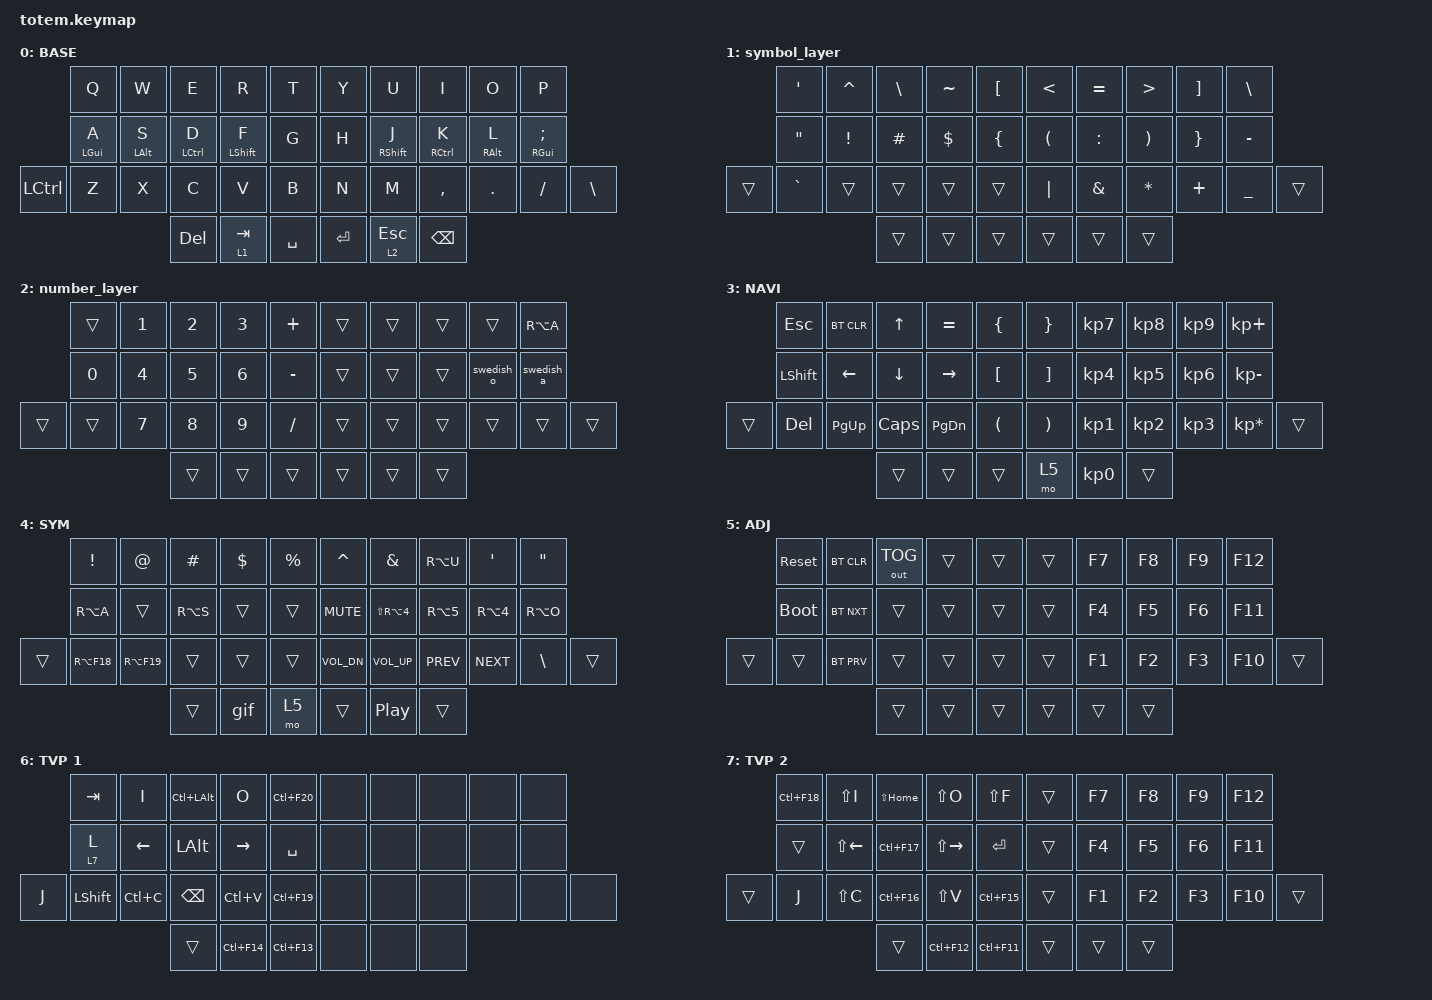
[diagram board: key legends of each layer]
//
//                                                        ▀▀▀▀▀     ▀▀▀▀▀          ▀▀█▀▀
//                                                        ▄▀▀▀▄  ▄  ▄▀▀▀▄  ▄  ▄▀▀▀▄  █  ▄▀▀▀▄
//                                                        █   █  █  █   █  █  █   █  █  █   █
//                                                         ▀▀▀   █   ▀▀▀   █   ▀▀▀   ▀   ▀▀▀
//                                                               █      ▄▄▄█▄▄▄    █   █  
//                                                               ▀      █  █  █     █▄█
//                                                             ▀▀▀▀▀    █  █  █      ▀
//                                                                      ▀  ▀  ▀
//
// ▄▄▄▄▄▄▄▄▄▄▄▄▄▄▄▄▄▄▄▄▄▄▄▄▄▄▄▄▄▄▄▄▄▄▄▄▄▄▄▄▄▄▄▄▄▄▄▄▄▄▄▄▄▄▄▄▄▄▄▄▄▄▄▄▄▄▄▄▄▄▄▄▄▄▄▄▄▄▄▄▄▄▄▄▄▄▄▄▄▄▄▄▄▄▄▄▄▄▄▄▄▄▄▄▄▄▄▄▄▄▄▄▄▄▄▄▄▄▄▄▄▄▄▄▄▄▄▄▄▄▄▄▄▄▄▄▄▄▄▄▄▄▄▄▄▄▄▄▄

#include <behaviors.dtsi>
#include <dt-bindings/zmk/bt.h>
#include <dt-bindings/zmk/keys.h>
#include <dt-bindings/zmk/outputs.h>

#define BASE 0
#define NAV  1
#define SYM  2
#define ADJ  3
#define TVP1 4
#define TVP2 5

&mt {
    quick-tap-ms = <100>;
    global-quick-tap;
    flavor = "tap-preferred";
    tapping-term-ms = <170>;
};

/ {
    combos {
        compatible = "zmk,combos";

        combo_esc {
            timeout-ms = <50>;
            key-positions = <0 1>;
            bindings = <&kp ESC>;
        };

        combo_tvp {
            timeout-ms = <100>;
            key-positions = <33 36>;
            bindings = <&tog 6>;
        };
    };

    macros {
        gif: gif {
            label = "giphy";
            compatible = "zmk,behavior-macro";
            #binding-cells = <0>;
            bindings =
                <&macro_press>,
                <&kp LSHFT>,
                <&macro_tap>,
                <&kp N2>,
                <&macro_release>,
                <&kp LSHFT>,
                <&macro_tap>,
                <&kp G &kp I &kp F>;
        };

        swedish_a: swedish_a {
            compatible = "zmk,behavior-macro";
            #binding-cells = <0>;
            bindings = <&kp RA(U) &kp A>;
            label = "SWEDISH_A";
        };

        swedish_o: swedish_o {
            compatible = "zmk,behavior-macro";
            #binding-cells = <0>;
            bindings = <&kp RA(U) &kp A>;
            label = "SWEDISH_O";
        };
    };

    keymap {
        compatible = "zmk,keymap";

        // ▄▄▄▄▄▄▄▄▄▄▄▄▄▄▄▄▄▄▄▄▄▄▄▄▄▄▄▄▄▄▄▄▄▄▄▄▄▄▄▄▄▄▄▄▄▄▄▄▄▄▄▄▄▄▄▄▄▄▄▄▄▄▄▄▄▄▄▄▄▄▄▄▄▄▄▄▄▄▄▄▄▄▄▄▄▄▄▄▄▄▄▄▄▄▄▄▄▄▄▄▄▄▄▄▄▄▄▄▄▄▄▄▄▄▄▄▄▄▄▄▄▄▄▄▄▄▄▄▄▄▄▄▄▄▄▄▄▄▄▄▄▄▄▄▄▄▄▄▄

        base_layer {
            // ┏━━━━━━━━━━━━━━━━━━━━━━━━━━━━━━━━━━━━━━━┓

            label = "BASE";

            // ┗━━━━━━━━━━━━━━━━━━━━━━━━━━━━━━━━━━━━━━━┛
            //             ┏━━━━━━━━━━━┳━━━━━━━━━━━┳━━━━━━━━━━━┳━━━━━━━━━━━┳━━━━━━━━━━━┓   ┏━━━━━━━━━━━┳━━━━━━━━━━━┳━━━━━━━━━━━┳━━━━━━━━━━━┳━━━━━━━━━━━┓
            //             ┃     Q     ┃     W     ┃     E     ┃     R     ┃     T     ┃   ┃     Y     ┃     U     ┃     I     ┃     O     ┃     P     ┃
            //             ┣━━━━━━━━━━━╋━━━━━━━━━━━╋━━━━━━━━━━━╋━━━━━━━━━━━╋━━━━━━━━━━━┫   ┣━━━━━━━━━━━╋━━━━━━━━━━━╋━━━━━━━━━━━╋━━━━━━━━━━━╋━━━━━━━━━━━┫
            //             ┃     A     ┃     S     ┃     D     ┃     F     ┃     G     ┃   ┃     H     ┃     J     ┃     K     ┃     L     ┃     O     ┃
            // ┏━━━━━━━━━━━╋━━━━━━━━━━━╋━━━━━━━━━━━╋━━━━━━━━━━━╋━━━━━━━━━━━╋━━━━━━━━━━━┫   ┣━━━━━━━━━━━╋━━━━━━━━━━━╋━━━━━━━━━━━╋━━━━━━━━━━━╋━━━━━━━━━━━╋━━━━━━━━━━━┓
            // ┃     Q     ┃     Z     ┃     X     ┃     C     ┃     V     ┃     B     ┃   ┃     K     ┃     M     ┃     ,     ┃     .     ┃     /     ┃     \     ┃
            // ┗━━━━━━━━━━━┻━━━━━━━━━━━┻━━━━━━━━━━━╋━━━━━━━━━━━╋━━━━━━━━━━━╋━━━━━━━━━━━┫   ┣━━━━━━━━━━━╋━━━━━━━━━━━╋━━━━━━━━━━━╋━━━━━━━━━━━┻━━━━━━━━━━━┻━━━━━━━━━━━┛
            //                                     ┃    DEL    ┃    TAB    ┃    SPC    ┃   ┃   ENTER   ┃           ┃   BSPC    ┃
            //                                     ┗━━━━━━━━━━━┻━━━━━━━━━━━┻━━━━━━━━━━━┛   ┗━━━━━━━━━━━┻━━━━━━━━━━━┻━━━━━━━━━━━┛

            bindings = <
                  &kp Q       &kp W       &kp E        &kp R        &kp T        &kp Y    &kp U        &kp I        &kp O       &kp P
                  &mt LGUI A  &mt LALT S  &mt LCTRL D  &mt LSHFT F  &kp G        &kp H    &mt RSHFT J  &mt RCTRL K  &mt RALT L  &mt RGUI SEMICOLON
&kp LEFT_CONTROL  &kp Z       &kp X       &kp C        &kp V        &kp B        &kp N    &kp M        &kp COMMA    &kp DOT     &kp FSLH            &kp BSLH
                                          &kp DEL      &lt 1 TAB    &kp SPACE    &kp RET  &lt 2 ESC    &kp BSPC
            >;
        };

        symbol_layer {
            bindings = <
        &kp SINGLE_QUOTE   &kp CARET        &kp BACKSLASH  &kp TILDE   &kp LEFT_BRACKET    &kp LESS_THAN         &kp EQUAL      &kp GREATER_THAN       &kp RIGHT_BRACKET  &kp BACKSLASH
        &kp DOUBLE_QUOTES  &kp EXCLAMATION  &kp HASH       &kp DOLLAR  &kp LEFT_BRACE      &kp LEFT_PARENTHESIS  &kp COLON      &kp RIGHT_PARENTHESIS  &kp RIGHT_BRACE    &kp MINUS
&trans  &kp GRAVE          &trans           &trans         &trans      &trans              &kp PIPE              &kp AMPERSAND  &kp ASTERISK           &kp PLUS           &kp UNDERSCORE  &trans
                                            &trans         &trans      &trans              &trans                &trans         &trans
            >;
        };

        number_layer {
            bindings = <
        &trans  &kp NUMBER_1  &kp NUMBER_2  &kp NUMBER_3  &kp PLUS     &trans  &trans  &trans  &trans      &kp RA(A)
        &kp N0  &kp NUMBER_4  &kp N5        &kp NUMBER_6  &kp MINUS    &trans  &trans  &trans  &swedish_o  &swedish_a
&trans  &trans  &kp N7        &kp N8        &kp N9        &kp SLASH    &trans  &trans  &trans  &trans      &trans      &trans
                              &trans        &trans        &trans       &trans  &trans  &trans
            >;
        };

        nav_layer {
            // ┏━━━━━━━━━━━━━━━━━━━━━━━━━━━━━━━━━━━━━━━┓

            label = "NAVI";

            // ┗━━━━━━━━━━━━━━━━━━━━━━━━━━━━━━━━━━━━━━━┛
            //             ┏━━━━━━━━━━━┳━━━━━━━━━━━┳━━━━━━━━━━━┳━━━━━━━━━━━┳━━━━━━━━━━━┓   ┏━━━━━━━━━━━┳━━━━━━━━━━━┳━━━━━━━━━━━┳━━━━━━━━━━━┳━━━━━━━━━━━┓
            //             ┃           ┃           ┃     UP    ┃           ┃     {     ┃   ┃     }     ┃     7     ┃     8     ┃     9     ┃     +     ┃
            //             ┣━━━━━━━━━━━╋━━━━━━━━━━━╋━━━━━━━━━━━╋━━━━━━━━━━━╋━━━━━━━━━━━┫   ┣━━━━━━━━━━━╋━━━━━━━━━━━╋━━━━━━━━━━━╋━━━━━━━━━━━╋━━━━━━━━━━━┫
            //             ┃   SHIFT   ┃   LEFT    ┃    DOWN   ┃   RIGHT   ┃     [     ┃   ┃     ]     ┃     4     ┃     5     ┃     6     ┃     -     ┃
            // ┏━━━━━━━━━━━╋━━━━━━━━━━━╋━━━━━━━━━━━╋━━━━━━━━━━━╋━━━━━━━━━━━╋━━━━━━━━━━━┫   ┣━━━━━━━━━━━╋━━━━━━━━━━━╋━━━━━━━━━━━╋━━━━━━━━━━━╋━━━━━━━━━━━╋━━━━━━━━━━━┓
            // ┃           ┃           ┃   P UP    ┃  C LOCK   ┃  P DOWN   ┃     (     ┃   ┃     )     ┃     1     ┃     2     ┃     3     ┃     *     ┃           ┃
            // ┗━━━━━━━━━━━┻━━━━━━━━━━━┻━━━━━━━━━━━╋━━━━━━━━━━━╋━━━━━━━━━━━╋━━━━━━━━━━━┫   ┣━━━━━━━━━━━╋━━━━━━━━━━━╋━━━━━━━━━━━╋━━━━━━━━━━━┻━━━━━━━━━━━┻━━━━━━━━━━━┛
            //                                     ┃           ┃    TAB    ┃    SPC    ┃   ┃    DEL    ┃     0     ┃           ┃
            //                                     ┗━━━━━━━━━━━┻━━━━━━━━━━━┻━━━━━━━━━━━┛   ┗━━━━━━━━━━━┻━━━━━━━━━━━┻━━━━━━━━━━━┛

            bindings = <
        &kp ESC    &bt BT_CLR  &kp UP    &kp EQUAL  &kp LBRC    &kp RBRC  &kp KP_N7  &kp KP_N8  &kp KP_N9  &kp KP_PLUS
        &kp LSHFT  &kp LEFT    &kp DOWN  &kp RIGHT  &kp LBKT    &kp RBKT  &kp KP_N4  &kp KP_N5  &kp KP_N6  &kp KP_MINUS
&trans  &kp DEL    &kp PG_UP   &kp CAPS  &kp PG_DN  &kp LPAR    &kp RPAR  &kp KP_N1  &kp KP_N2  &kp KP_N3  &kp KP_MULTIPLY  &trans
                               &trans    &trans     &trans      &mo 5     &kp KP_N0  &trans
            >;
        };

        sim_layer {
            // ┏━━━━━━━━━━━━━━━━━━━━━━━━━━━━━━━━━━━━━━━┓

            label = "SYM";

            // ┗━━━━━━━━━━━━━━━━━━━━━━━━━━━━━━━━━━━━━━━┛
            //             ┏━━━━━━━━━━━┳━━━━━━━━━━━┳━━━━━━━━━━━┳━━━━━━━━━━━┳━━━━━━━━━━━┓   ┏━━━━━━━━━━━┳━━━━━━━━━━━┳━━━━━━━━━━━┳━━━━━━━━━━━┳━━━━━━━━━━━┓
            //             ┃     !     ┃     @     ┃     #     ┃     $     ┃     %     ┃   ┃     ˆ     ┃     &     ┃     Ü     ┃     '     ┃     "     ┃
            //             ┣━━━━━━━━━━━╋━━━━━━━━━━━╋━━━━━━━━━━━╋━━━━━━━━━━━╋━━━━━━━━━━━┫   ┣━━━━━━━━━━━╋━━━━━━━━━━━╋━━━━━━━━━━━╋━━━━━━━━━━━╋━━━━━━━━━━━┫
            //             ┃     Ä     ┃           ┃    SZ     ┃           ┃           ┃   ┃   MUTE    ┃   YEN     ┃   EURO    ┃  POUND    ┃     Ö     ┃
            // ┏━━━━━━━━━━━╋━━━━━━━━━━━╋━━━━━━━━━━━╋━━━━━━━━━━━╋━━━━━━━━━━━╋━━━━━━━━━━━┫   ┣━━━━━━━━━━━╋━━━━━━━━━━━╋━━━━━━━━━━━╋━━━━━━━━━━━╋━━━━━━━━━━━╋━━━━━━━━━━━┓
            // ┃           ┃  EMAIL1   ┃  EMAIL2   ┃           ┃           ┃           ┃   ┃   VOL-    ┃   VOL+    ┃   LAST    ┃   NEXT    ┃     \     ┃           ┃
            // ┗━━━━━━━━━━━┻━━━━━━━━━━━┻━━━━━━━━━━━╋━━━━━━━━━━━╋━━━━━━━━━━━╋━━━━━━━━━━━┫   ┣━━━━━━━━━━━╋━━━━━━━━━━━╋━━━━━━━━━━━╋━━━━━━━━━━━┻━━━━━━━━━━━┻━━━━━━━━━━━┛
            //                                     ┃           ┃    GIF    ┃    ADJ    ┃   ┃           ┃           ┃           ┃
            //                                     ┗━━━━━━━━━━━┻━━━━━━━━━━━┻━━━━━━━━━━━┛   ┗━━━━━━━━━━━┻━━━━━━━━━━━┻━━━━━━━━━━━┛

            bindings = <
        &kp EXCL     &kp AT       &kp HASH   &kp DLLR  &kp PRCNT    &kp CARET     &kp AMPS        &kp RA(U)   &kp SQT     &kp DQT
        &kp RA(A)    &trans       &kp RA(S)  &trans    &trans       &kp C_MUTE    &kp LS(RA(N4))  &kp RA(N5)  &kp RA(N4)  &kp RA(O)
&trans  &kp RA(F18)  &kp RA(F19)  &trans     &trans    &trans       &kp C_VOL_DN  &kp C_VOL_UP    &kp C_PREV  &kp C_NEXT  &kp BSLH   &trans
                                  &trans     &gif      &mo 5        &trans        &kp C_PP        &trans
            >;
        };

        adjust_layer {
            // ┏━━━━━━━━━━━━━━━━━━━━━━━━━━━━━━━━━━━━━━━┓

            label = "ADJ";

            // ┗━━━━━━━━━━━━━━━━━━━━━━━━━━━━━━━━━━━━━━━┛
            //             ┏━━━━━━━━━━━┳━━━━━━━━━━━┳━━━━━━━━━━━┳━━━━━━━━━━━┳━━━━━━━━━━━┓   ┏━━━━━━━━━━━┳━━━━━━━━━━━┳━━━━━━━━━━━┳━━━━━━━━━━━┳━━━━━━━━━━━┓
            //             ┃   RESET   ┃ BT CLEAR  ┃  OUT TOG  ┃           ┃           ┃   ┃           ┃    F7     ┃    F8     ┃    F9     ┃    F12    ┃
            //             ┣━━━━━━━━━━━╋━━━━━━━━━━━╋━━━━━━━━━━━╋━━━━━━━━━━━╋━━━━━━━━━━━┫   ┣━━━━━━━━━━━╋━━━━━━━━━━━╋━━━━━━━━━━━╋━━━━━━━━━━━╋━━━━━━━━━━━┫
            //             ┃ BOOTLOAD  ┃ BT NEXT   ┃           ┃           ┃           ┃   ┃           ┃    F4     ┃    F5     ┃    F6     ┃    F11    ┃
            // ┏━━━━━━━━━━━╋━━━━━━━━━━━╋━━━━━━━━━━━╋━━━━━━━━━━━╋━━━━━━━━━━━╋━━━━━━━━━━━┫   ┣━━━━━━━━━━━╋━━━━━━━━━━━╋━━━━━━━━━━━╋━━━━━━━━━━━╋━━━━━━━━━━━╋━━━━━━━━━━━┓
            // ┃           ┃           ┃ BT PREV   ┃           ┃           ┃           ┃   ┃           ┃    F1     ┃    F2     ┃    F3     ┃    F10    ┃           ┃
            // ┗━━━━━━━━━━━┻━━━━━━━━━━━┻━━━━━━━━━━━╋━━━━━━━━━━━╋━━━━━━━━━━━╋━━━━━━━━━━━┫   ┣━━━━━━━━━━━╋━━━━━━━━━━━╋━━━━━━━━━━━╋━━━━━━━━━━━┻━━━━━━━━━━━┻━━━━━━━━━━━┛
            //                                     ┃           ┃           ┃           ┃   ┃           ┃           ┃           ┃
            //                                     ┗━━━━━━━━━━━┻━━━━━━━━━━━┻━━━━━━━━━━━┛   ┗━━━━━━━━━━━┻━━━━━━━━━━━┻━━━━━━━━━━━┛

            bindings = <
        &sys_reset   &bt BT_CLR  &out OUT_TOG  &trans  &trans    &trans  &kp F7  &kp F8  &kp F9  &kp F12
        &bootloader  &bt BT_NXT  &trans        &trans  &trans    &trans  &kp F4  &kp F5  &kp F6  &kp F11
&trans  &trans       &bt BT_PRV  &trans        &trans  &trans    &trans  &kp F1  &kp F2  &kp F3  &kp F10  &trans
                                 &trans        &trans  &trans    &trans  &trans  &trans
            >;
        };

        tvp1_layer {
            // ┏━━━━━━━━━━━━━━━━━━━━━━━━━━━━━━━━━━━━━━━┓

            label = "TVP 1";

            // ┗━━━━━━━━━━━━━━━━━━━━━━━━━━━━━━━━━━━━━━━┛
            //             ┏━━━━━━━━━━━┳━━━━━━━━━━━┳━━━━━━━━━━━┳━━━━━━━━━━━┳━━━━━━━━━━━┓   ┏━━━━━━━━━━━┳━━━━━━━━━━━┳━━━━━━━━━━━┳━━━━━━━━━━━┳━━━━━━━━━━━┓
            //             ┃ NEXT FILE ┃ MARK IN   ┃ ROTATE    ┃ MARK OUT  ┃ SHOW SNAP ┃   ┃           ┃           ┃           ┃           ┃           ┃
            //             ┣━━━━━━━━━━━╋━━━━━━━━━━━╋━━━━━━━━━━━╋━━━━━━━━━━━╋━━━━━━━━━━━┫   ┣━━━━━━━━━━━╋━━━━━━━━━━━╋━━━━━━━━━━━╋━━━━━━━━━━━╋━━━━━━━━━━━┫
            //             ┃ TVP II    ┃ LEFT      ┃ PAN       ┃ RIGHT     ┃ PLAY/FLIP ┃   ┃           ┃           ┃           ┃           ┃           ┃
            // ┏━━━━━━━━━━━╋━━━━━━━━━━━╋━━━━━━━━━━━╋━━━━━━━━━━━╋━━━━━━━━━━━╋━━━━━━━━━━━┫   ┣━━━━━━━━━━━╋━━━━━━━━━━━╋━━━━━━━━━━━╋━━━━━━━━━━━╋━━━━━━━━━━━╋━━━━━━━━━━━┓
            // ┃ FULLSCR   ┃ SHIFT     ┃ COPY      ┃ DELETE    ┃ PASTE     ┃ IMG MARK  ┃   ┃           ┃           ┃           ┃           ┃           ┃           ┃
            // ┗━━━━━━━━━━━┻━━━━━━━━━━━┻━━━━━━━━━━━╋━━━━━━━━━━━╋━━━━━━━━━━━╋━━━━━━━━━━━┫   ┣━━━━━━━━━━━╋━━━━━━━━━━━╋━━━━━━━━━━━╋━━━━━━━━━━━┻━━━━━━━━━━━┻━━━━━━━━━━━┛
            //                                     ┃           ┃ UNDO/SAVE ┃  SEL/MOV  ┃   ┃           ┃           ┃           ┃
            //                                     ┗━━━━━━━━━━━┻━━━━━━━━━━━┻━━━━━━━━━━━┛   ┗━━━━━━━━━━━┻━━━━━━━━━━━┻━━━━━━━━━━━┛

            bindings = <
       &kp TAB    &kp I      &kp LC(LALT)  &kp O        &kp LC(F20)    &none  &none  &none  &none  &none
       &lt 7 L    &kp LEFT   &kp LALT      &kp RIGHT    &kp SPACE      &none  &none  &none  &none  &none
&kp J  &kp LSHFT  &kp LC(C)  &kp BSPC      &kp LC(V)    &kp LC(F19)    &none  &none  &none  &none  &none  &none
                             &trans        &kp LC(F14)  &kp LC(F13)    &none  &none  &none
            >;
        };

        tvp2_layer {
            // ┏━━━━━━━━━━━━━━━━━━━━━━━━━━━━━━━━━━━━━━━┓

            label = "TVP 2";

            // ┗━━━━━━━━━━━━━━━━━━━━━━━━━━━━━━━━━━━━━━━┛
            //             ┏━━━━━━━━━━━┳━━━━━━━━━━━┳━━━━━━━━━━━┳━━━━━━━━━━━┳━━━━━━━━━━━┓   ┏━━━━━━━━━━━┳━━━━━━━━━━━┳━━━━━━━━━━━┳━━━━━━━━━━━┳━━━━━━━━━━━┓
            //             ┃ SOLO      ┃ TOGGLE IN ┃ RESET ROT ┃ TOGGLE OUT┃ TAKE SNAP ┃   ┃           ┃           ┃           ┃           ┃           ┃
            //             ┣━━━━━━━━━━━╋━━━━━━━━━━━╋━━━━━━━━━━━╋━━━━━━━━━━━╋━━━━━━━━━━━┫   ┣━━━━━━━━━━━╋━━━━━━━━━━━╋━━━━━━━━━━━╋━━━━━━━━━━━╋━━━━━━━━━━━┫
            //             ┃ ---       ┃ LAST KEY  ┃ NEW KEY   ┃ NEXT KEY  ┃ ENTER     ┃   ┃           ┃           ┃           ┃           ┃           ┃
            // ┏━━━━━━━━━━━╋━━━━━━━━━━━╋━━━━━━━━━━━╋━━━━━━━━━━━╋━━━━━━━━━━━╋━━━━━━━━━━━┫   ┣━━━━━━━━━━━╋━━━━━━━━━━━╋━━━━━━━━━━━╋━━━━━━━━━━━╋━━━━━━━━━━━╋━━━━━━━━━━━┓
            // ┃           ┃ FULLSCR   ┃ CPY2BRUSH ┃ DEL HEAD  ┃ PSTinPLACE┃ BOOK MARK ┃   ┃           ┃           ┃           ┃           ┃           ┃           ┃
            // ┗━━━━━━━━━━━┻━━━━━━━━━━━┻━━━━━━━━━━━╋━━━━━━━━━━━╋━━━━━━━━━━━╋━━━━━━━━━━━┫   ┣━━━━━━━━━━━╋━━━━━━━━━━━╋━━━━━━━━━━━╋━━━━━━━━━━━┻━━━━━━━━━━━┻━━━━━━━━━━━┛
            //                                     ┃           ┃ REDO/SAV1 ┃TRANS/WARP ┃   ┃           ┃           ┃           ┃
            //                                     ┗━━━━━━━━━━━┻━━━━━━━━━━━┻━━━━━━━━━━━┛   ┗━━━━━━━━━━━┻━━━━━━━━━━━┻━━━━━━━━━━━┛

            bindings = <
        &kp LC(F18)  &kp LS(I)     &kp LS(HOME)  &kp LS(O)      &kp LS(F)      &trans  &kp F7  &kp F8  &kp F9  &kp F12
        &trans       &kp LS(LEFT)  &kp LC(F17)   &kp LS(RIGHT)  &kp RET        &trans  &kp F4  &kp F5  &kp F6  &kp F11
&trans  &kp J        &kp LS(C)     &kp LC(F16)   &kp LS(V)      &kp LC(F15)    &trans  &kp F1  &kp F2  &kp F3  &kp F10  &trans
                                   &trans        &kp LC(F12)    &kp LC(F11)    &trans  &trans  &trans
            >;
        };
    };
};
